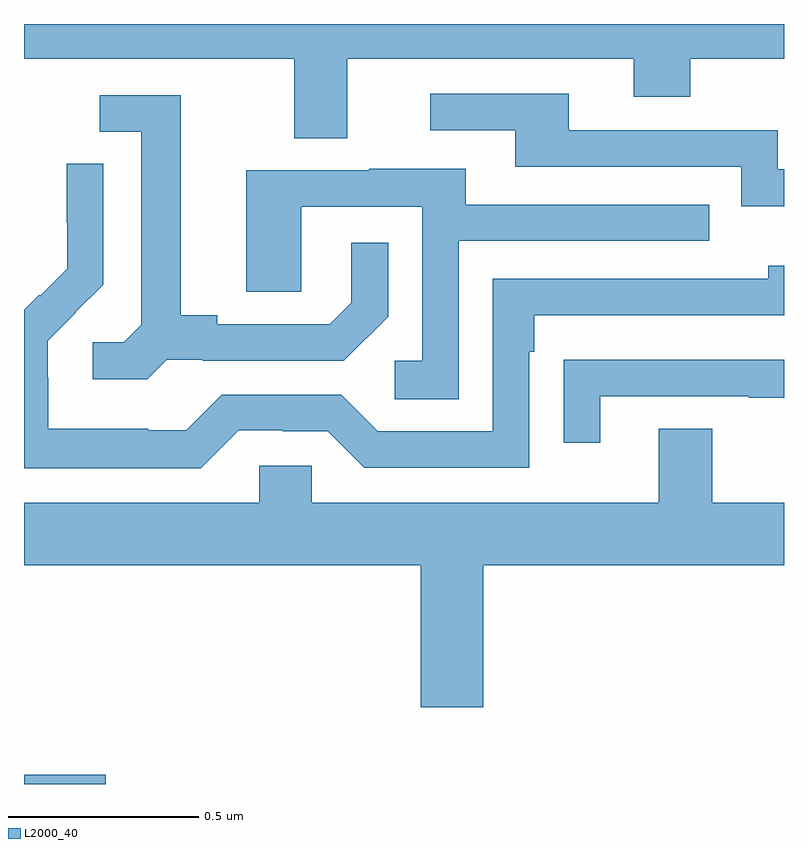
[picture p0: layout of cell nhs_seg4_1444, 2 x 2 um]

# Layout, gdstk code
import gdstk
lib = gdstk.Library(unit=1e-6, precision=1e-09)
def R(c, l, rs):  # rectangles x0, y0, x1, y1
    for r in rs: c.add(gdstk.rectangle(r[:2], r[2:], *l))
def P(c, l, *ps):  # polygons
    for p in ps: c.add(gdstk.Polygon(p, *l))
L2000_40 = (2000, 40)

nhs_seg4_1444 = lib.new_cell('nhs_seg4_1444')
R(nhs_seg4_1444, L2000_40, [(128,806.9,128.215,806.924)])
P(nhs_seg4_1444, L2000_40, [(128.851,808.808),(129.605,808.808),(129.605,808.709),(129.753,808.709),(129.753,808.808),(130,808.808),(130,808.9),(128,808.9),(128,808.808),(128.711,808.808),(128.711,808.6),(128.851,808.6)],
  [(130,808.518),(129.984,808.518),(129.984,808.62),(129.433,808.62),(129.433,808.716),(129.069,808.716),(129.069,808.62),(129.293,808.62),(129.293,808.524),(129.888,808.524),(129.888,808.421),(130,808.421)],
  [(128.376,808.017),(128.47,808.017),(128.47,808.014),(128.842,808.014),(128.958,808.13),(128.958,808.324),(128.861,808.324),(128.861,808.167),(128.804,808.11),(128.509,808.11),(128.509,808.133),(128.413,808.133),(128.413,808.713),(128.199,808.713),(128.199,808.617),(128.309,808.617),(128.309,808.109),(128.262,808.062),(128.181,808.062),(128.181,807.965),(128.324,807.965)],
  [(128.565,807.831),(128.681,807.831),(128.681,807.828),(128.799,807.828),(128.895,807.732),(129.33,807.732),(129.33,808.037),(129.343,808.037),(129.343,808.134),(130,808.134),(130,808.264),(129.959,808.264),(129.959,808.23),(129.234,808.23),(129.234,807.828),(128.931,807.828),(128.835,807.924),(128.52,807.924),(128.427,807.831),(128.327,807.831),(128.327,807.835),(128.064,807.835),(128.064,807.969),(128.062,807.969),(128.062,808.066),(128.136,808.14),(128.135,808.141),(128.208,808.214),(128.208,808.532),(128.112,808.532),(128.112,808.378),(128.114,808.378),(128.114,808.256),(128.043,808.185),(128.04,808.188),(128,808.148),(128,807.731),(128.465,807.731)],
  [(129.144,808.329),(129.803,808.329),(129.803,808.425),(129.163,808.425),(129.163,808.519),(128.909,808.519),(128.909,808.515),(128.585,808.515),(128.585,808.195),(128.73,808.195),(128.73,808.419),(129.048,808.419),(129.048,808.014),(128.976,808.014),(128.976,807.913),(129.144,807.913)],
  [(129.517,807.921),(129.907,807.921),(129.907,807.916),(130,807.916),(130,808.017),(129.523,808.017),(129.523,808.016),(129.421,808.016),(129.421,807.798),(129.517,807.798)],
  [(129.208,807.476),(130,807.476),(130,807.64),(129.811,807.64),(129.811,807.835),(129.671,807.835),(129.671,807.64),(128.757,807.64),(128.757,807.738),(128.619,807.738),(128.619,807.64),(128,807.64),(128,807.476),(129.044,807.476),(129.044,807.102),(129.208,807.102)])

lib.write_gds('nhs_seg4_1444.gds')
